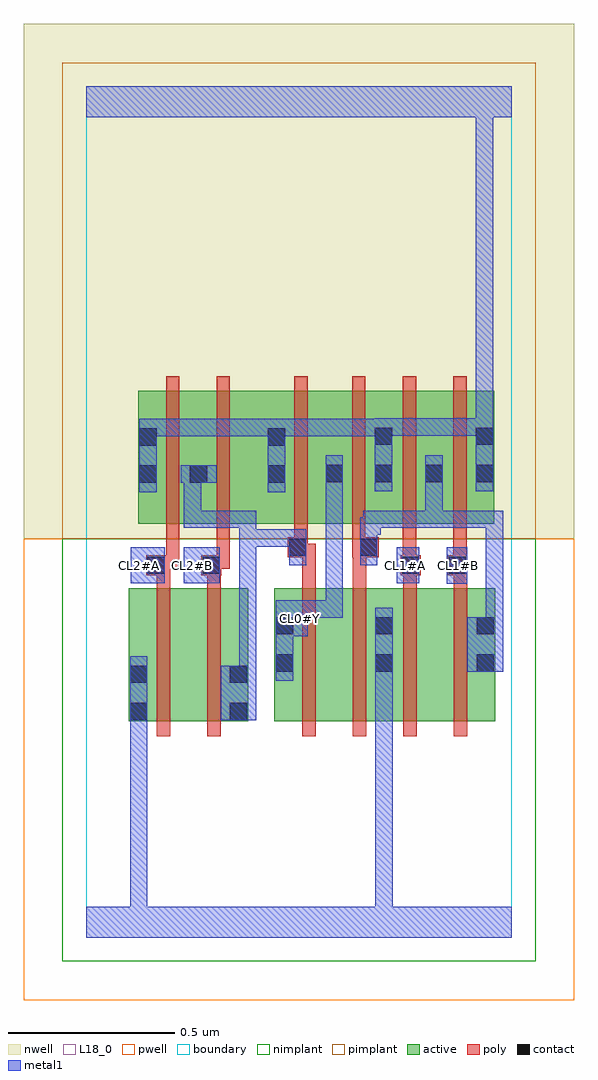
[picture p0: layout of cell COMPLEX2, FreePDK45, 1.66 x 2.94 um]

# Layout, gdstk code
import gdstk
lib = gdstk.Library(unit=1e-6, precision=1e-09)
def R(c, l, rs):  # rectangles x0, y0, x1, y1
    for r in rs: c.add(gdstk.rectangle(r[:2], r[2:], *l))
def A(c, l, x, y, w, h, nx, ny, dx, dy):  # array of equal rectangles
    R(c, l, [(x+i*dx, y+j*dy, x+i*dx+w, y+j*dy+h) for i in range(nx) for j in range(ny)])
active = (1, 0)
pwell = (2, 0)
nwell = (3, 0)
nimplant = (4, 0)
pimplant = (5, 0)
poly = (9, 0)
contact = (10, 0)
metal1 = (11, 0)
L18_0 = (18, 0)
boundary = (235, 0)

complex2 = lib.new_cell('COMPLEX2')
A(complex2, active, 0.864, 1.244, 0.06, 0.4, 3, 1, 0.152, 0)
R(complex2, active, [(0.128,0.65,0.308,1.05), (0.128,0.65,0.188,1.05), (0.308,0.65,0.488,1.05), (0.428,0.65,0.488,1.05), (0.566,0.65,0.746,1.05), (0.746,0.65,0.926,1.05), (0.866,0.65,1.05,1.05), (1.05,0.65,1.23,1.05), (0.566,0.756,0.626,1.05), (0.866,0.756,0.926,1.05), (1.17,0.756,1.23,1.05), (0.156,1.244,0.216,1.644), (0.156,1.244,0.368,1.644), (0.308,1.244,0.368,1.644), (0.308,1.244,0.602,1.644), (0.542,1.244,0.602,1.644), (0.542,1.244,0.776,1.644), (0.716,1.244,0.776,1.644), (0.716,1.244,0.924,1.644), (0.864,1.244,1.076,1.644), (1.016,1.244,1.228,1.644)])
R(complex2, pwell, [(-0.188,-0.188,1.468,1.2)])
R(complex2, nwell, [(-0.188,1.2,1.468,2.748)])
R(complex2, nimplant, [(-0.072,-0.072,1.352,1.2)])
R(complex2, pimplant, [(-0.072,1.2,1.352,2.632)])
A(complex2, poly, 0.65, 0.606, 0.04, 0.488, 4, 1, 0.152, 0)
A(complex2, poly, 0.8, 1.2, 0.04, 0.488, 3, 1, 0.152, 0)
R(complex2, poly, [(0.212,0.606,0.252,1.094), (0.364,0.606,0.404,1.094), (0.212,1.054,0.252,1.13), (0.364,1.054,0.404,1.13), (0.65,1.054,0.69,1.184), (0.802,1.054,0.842,1.184), (0.954,1.054,0.994,1.13), (1.106,1.054,1.146,1.13), (0.18,1.09,0.252,1.15), (0.346,1.09,0.406,1.15), (0.946,1.09,1.006,1.15), (1.086,1.09,1.146,1.15), (0.212,1.11,0.252,1.15), (0.212,1.11,0.28,1.15), (0.24,1.11,0.28,1.24), (0.366,1.11,0.406,1.15), (0.366,1.11,0.432,1.15), (0.392,1.11,0.432,1.24), (0.952,1.11,0.992,1.24), (0.952,1.11,0.992,1.15), (0.952,1.11,0.992,1.15), (1.104,1.11,1.144,1.24), (1.104,1.11,1.144,1.15), (1.104,1.11,1.144,1.15), (0.606,1.144,0.666,1.204), (0.626,1.144,0.666,1.184), (0.626,1.144,0.69,1.184), (0.8,1.144,0.88,1.204), (0.802,1.144,0.842,1.184), (0.802,1.144,0.842,1.184), (0.626,1.164,0.666,1.24), (0.8,1.164,0.84,1.24), (0.24,1.2,0.28,1.688), (0.392,1.2,0.432,1.688), (0.626,1.2,0.666,1.688)])
A(complex2, contact, 0.868, 1.37, 0.052, 0.052, 3, 1, 0.152, 0)
R(complex2, contact, [(0.132,0.654,0.184,0.706), (0.432,0.654,0.484,0.706), (0.132,0.766,0.184,0.818), (0.432,0.766,0.484,0.818), (0.57,0.8,0.622,0.852), (0.87,0.8,0.922,0.852), (1.174,0.8,1.226,0.852), (0.57,0.912,0.622,0.964), (0.87,0.912,0.922,0.964), (1.174,0.912,1.226,0.964), (0.184,1.094,0.236,1.146), (0.35,1.094,0.402,1.146), (0.95,1.094,1.002,1.146), (1.09,1.094,1.142,1.146), (0.61,1.148,0.662,1.2), (0.824,1.148,0.876,1.2), (0.16,1.368,0.212,1.42), (0.312,1.368,0.364,1.42), (0.546,1.368,0.598,1.42), (0.72,1.37,0.772,1.422), (0.16,1.48,0.212,1.532), (0.546,1.48,0.598,1.532), (0.868,1.482,0.92,1.534), (1.172,1.482,1.224,1.534)])
R(complex2, metal1, [(0,0,1.28,0.092), (0.132,0.04,0.184,0.092), (0.132,0.04,0.184,0.092), (0.132,0.04,0.184,0.092), (0.132,0.04,0.184,0.092), (0.132,0.04,0.184,0.678), (0.87,0.04,0.922,0.824), (0.132,0.626,0.184,0.678), (0.132,0.626,0.184,0.678), (0.132,0.626,0.184,0.678), (0.132,0.626,0.184,0.678), (0.132,0.626,0.184,0.678), (0.132,0.626,0.184,0.678), (0.132,0.626,0.184,0.678), (0.132,0.626,0.184,0.678), (0.132,0.626,0.184,0.846), (0.404,0.654,0.512,0.818), (0.46,0.766,0.512,1.228), (0.57,0.772,0.622,0.992), (0.87,0.772,0.922,0.824), (0.87,0.772,0.922,0.824), (0.87,0.772,0.922,0.824), (0.87,0.772,0.922,0.824), (0.87,0.772,0.922,0.824), (0.87,0.772,0.922,0.824), (0.87,0.772,0.922,0.824), (0.87,0.772,0.922,0.824), (0.87,0.772,0.922,0.824), (0.87,0.772,0.922,0.824), (0.87,0.772,0.922,0.824), (0.87,0.772,0.922,0.824), (0.87,0.772,0.922,0.992), (1.146,0.8,1.254,0.964), (0.57,0.906,0.622,0.958), (0.57,0.906,0.666,1.014), (1.202,0.912,1.254,0.964), (1.202,0.912,1.254,0.964), (1.202,0.912,1.254,1.284), (0.614,0.962,0.666,1.014), (0.614,0.962,0.666,1.014), (0.614,0.962,0.772,1.014), (0.72,0.962,0.772,1.014), (0.72,0.962,0.772,1.014), (0.72,0.962,0.772,1.014), (0.72,0.962,0.772,1.394), (1.084,1.064,1.146,1.174), (0.134,1.066,0.236,1.174), (0.294,1.066,0.402,1.174), (0.934,1.066,1.002,1.174), (0.61,1.12,0.662,1.228), (0.824,1.12,0.876,1.264), (0.46,1.176,0.512,1.228), (0.46,1.176,0.512,1.228), (0.46,1.176,0.512,1.284), (0.46,1.176,0.662,1.228), (0.61,1.176,0.662,1.228), (0.61,1.176,0.662,1.228), (0.824,1.212,0.886,1.264), (0.834,1.212,0.886,1.284), (0.294,1.232,0.346,1.284), (0.294,1.232,0.346,1.284), (0.294,1.232,0.346,1.284), (0.294,1.232,0.512,1.284), (0.294,1.232,0.346,1.42), (0.834,1.232,1.026,1.284), (0.974,1.232,1.026,1.284), (0.974,1.232,1.072,1.284), (1.02,1.232,1.072,1.284), (1.02,1.232,1.254,1.284), (1.02,1.232,1.072,1.394), (1.202,1.232,1.254,1.284), (1.202,1.232,1.254,1.284), (1.202,1.232,1.254,1.284), (0.16,1.34,0.212,1.56), (0.546,1.34,0.598,1.56), (0.72,1.342,0.772,1.45), (0.868,1.342,0.92,1.562), (1.02,1.342,1.072,1.45), (1.172,1.342,1.224,1.562), (0.284,1.368,0.392,1.42), (0.16,1.508,0.212,1.56), (0.16,1.508,0.212,1.56), (0.16,1.508,0.346,1.56), (0.294,1.508,0.346,1.56), (0.294,1.508,0.346,1.56), (0.294,1.508,0.346,1.56), (0.294,1.508,0.552,1.56), (0.5,1.508,0.552,1.56), (0.5,1.508,0.598,1.56), (0.546,1.508,0.662,1.56), (0.61,1.508,0.662,1.56), (0.61,1.508,0.776,1.56), (0.724,1.508,0.776,1.56), (0.724,1.508,0.876,1.56), (0.824,1.508,0.876,1.56), (0.824,1.508,0.92,1.56), (0.868,1.51,0.986,1.562), (0.934,1.51,0.986,1.562), (0.934,1.51,1.03,1.562), (0.978,1.51,1.03,1.562), (0.978,1.51,1.224,1.562), (1.172,1.51,1.224,1.562), (1.172,1.51,1.224,1.562), (1.172,1.51,1.224,1.562), (1.172,1.51,1.224,1.562), (1.172,1.51,1.224,1.562), (1.172,1.51,1.224,1.562), (1.172,1.51,1.224,1.562), (1.172,1.51,1.224,1.562), (1.172,1.51,1.224,1.562), (1.172,1.51,1.224,1.562), (1.172,1.51,1.224,1.562), (1.172,1.51,1.224,1.562), (1.172,1.51,1.224,1.562), (1.172,1.51,1.224,1.562), (1.172,1.51,1.224,1.562), (1.172,1.51,1.224,1.562), (1.172,1.51,1.224,1.562), (1.172,1.51,1.224,1.562), (1.172,1.51,1.224,2.52), (0,2.468,1.28,2.56)])
R(complex2, L18_0, [(0,0,1.28,0.092), (0.132,0.04,0.184,0.092), (0.132,0.04,0.184,0.092), (0.132,0.04,0.184,0.092), (0.132,0.04,0.184,0.092), (0.132,0.04,0.184,0.678), (0.87,0.04,0.922,0.824), (0.132,0.626,0.184,0.678), (0.132,0.626,0.184,0.678), (0.132,0.626,0.184,0.678), (0.132,0.626,0.184,0.678), (0.132,0.626,0.184,0.678), (0.132,0.626,0.184,0.678), (0.132,0.626,0.184,0.678), (0.132,0.626,0.184,0.678), (0.132,0.626,0.184,0.846), (0.57,0.772,0.622,0.992), (0.87,0.772,0.922,0.824), (0.87,0.772,0.922,0.824), (0.87,0.772,0.922,0.824), (0.87,0.772,0.922,0.824), (0.87,0.772,0.922,0.824), (0.87,0.772,0.922,0.824), (0.87,0.772,0.922,0.824), (0.87,0.772,0.922,0.824), (0.87,0.772,0.922,0.824), (0.87,0.772,0.922,0.824), (0.87,0.772,0.922,0.824), (0.87,0.772,0.922,0.824), (0.87,0.772,0.922,0.992), (0.57,0.906,0.622,0.958), (0.57,0.906,0.666,1.014), (0.614,0.934,0.666,0.986), (0.614,0.962,0.666,1.014), (0.614,0.962,0.666,1.014), (0.614,0.962,0.772,1.014), (0.72,0.962,0.772,1.014), (0.72,0.962,0.772,1.014), (0.72,0.962,0.772,1.014), (0.72,0.962,0.772,1.394), (1.084,1.064,1.146,1.174), (0.134,1.066,0.236,1.174), (0.294,1.066,0.402,1.174), (0.934,1.066,1.002,1.174), (0.134,1.094,0.186,1.146), (0.294,1.094,0.346,1.146), (0.934,1.094,0.986,1.146), (1.094,1.094,1.146,1.146), (0.16,1.34,0.212,1.56), (0.546,1.34,0.598,1.56), (0.72,1.342,0.772,1.45), (0.868,1.342,0.92,1.562), (1.172,1.342,1.224,1.562), (0.16,1.508,0.212,1.56), (0.16,1.508,0.212,1.56), (0.16,1.508,0.346,1.56), (0.294,1.508,0.346,1.56), (0.294,1.508,0.346,1.56), (0.294,1.508,0.346,1.56), (0.294,1.508,0.552,1.56), (0.5,1.508,0.552,1.56), (0.5,1.508,0.598,1.56), (0.546,1.508,0.662,1.56), (0.61,1.508,0.662,1.56), (0.61,1.508,0.776,1.56), (0.724,1.508,0.776,1.56), (0.724,1.508,0.876,1.56), (0.824,1.508,0.876,1.56), (0.824,1.508,0.92,1.56), (0.868,1.51,0.986,1.562), (0.934,1.51,0.986,1.562), (0.934,1.51,1.03,1.562), (0.978,1.51,1.03,1.562), (0.978,1.51,1.224,1.562), (1.172,1.51,1.224,1.562), (1.172,1.51,1.224,1.562), (1.172,1.51,1.224,1.562), (1.172,1.51,1.224,1.562), (1.172,1.51,1.224,1.562), (1.172,1.51,1.224,1.562), (1.172,1.51,1.224,1.562), (1.172,1.51,1.224,1.562), (1.172,1.51,1.224,1.562), (1.172,1.51,1.224,1.562), (1.172,1.51,1.224,1.562), (1.172,1.51,1.224,1.562), (1.172,1.51,1.224,1.562), (1.172,1.51,1.224,1.562), (1.172,1.51,1.224,1.562), (1.172,1.51,1.224,1.562), (1.172,1.51,1.224,1.562), (1.172,1.51,1.224,1.562), (1.172,1.51,1.224,2.52), (0,2.468,1.28,2.56)])
R(complex2, boundary, [(0,0,1.28,2.56)])
complex2.add(gdstk.Label('CL0#Y', (0.64,0.96), layer=11, texttype=0))
complex2.add(gdstk.Label('CL1#A', (0.96,1.12), layer=11, texttype=0))
complex2.add(gdstk.Label('CL1#B', (1.12,1.12), layer=11, texttype=0))
complex2.add(gdstk.Label('CL2#A', (0.16,1.12), layer=11, texttype=0))
complex2.add(gdstk.Label('CL2#B', (0.32,1.12), layer=11, texttype=0))

lib.write_gds('COMPLEX2.gds')
